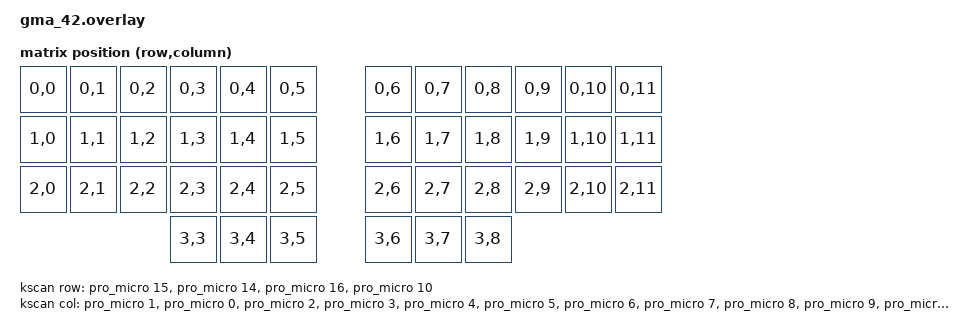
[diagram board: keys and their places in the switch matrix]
#include <physical_layouts.dtsi>
#include <dt-bindings/zmk/matrix_transform.h>

/ {
    #chosen {
    #   zmk,physical-layout = &layout;
    #};

    kscan: kscan {
        compatible = "zmk,kscan-gpio-matrix";
        diode-direction = "col2row";

        row-gpios = <&pro_micro 15 (GPIO_ACTIVE_HIGH | GPIO_PULL_DOWN)>,
                    <&pro_micro 14 (GPIO_ACTIVE_HIGH | GPIO_PULL_DOWN)>,
                    <&pro_micro 16 (GPIO_ACTIVE_HIGH | GPIO_PULL_DOWN)>,
                    <&pro_micro 10 (GPIO_ACTIVE_HIGH | GPIO_PULL_DOWN)>;

        col-gpios = <&pro_micro 1 GPIO_ACTIVE_HIGH>,
                    <&pro_micro 0 GPIO_ACTIVE_HIGH>,
                    <&pro_micro 2 GPIO_ACTIVE_HIGH>,
                    <&pro_micro 3 GPIO_ACTIVE_HIGH>,
                    <&pro_micro 4 GPIO_ACTIVE_HIGH>,
                    <&pro_micro 5 GPIO_ACTIVE_HIGH>,
                    <&pro_micro 6 GPIO_ACTIVE_HIGH>,
                    <&pro_micro 7 GPIO_ACTIVE_HIGH>,
                    <&pro_micro 8 GPIO_ACTIVE_HIGH>,
                    <&pro_micro 9 GPIO_ACTIVE_HIGH>,
                    <&pro_micro 21 GPIO_ACTIVE_HIGH>,
                    <&pro_micro 20 GPIO_ACTIVE_HIGH>;
    };

    transform: matrix_transform {
        compatible = "zmk,matrix-transform";
        rows = <4>;
        columns = <12>;

        map = <
                RC(0, 0) RC(0, 1) RC(0, 2) RC(0, 3) RC(0, 4) RC(0, 5)  RC(0, 6) RC(0, 7) RC(0, 8) RC(0, 9) RC(0, 10) RC(0, 11)
                RC(1, 0) RC(1, 1) RC(1, 2) RC(1, 3) RC(1, 4) RC(1, 5)  RC(1, 6) RC(1, 7) RC(1, 8) RC(1, 9) RC(1, 10) RC(1, 11)
                RC(2, 0) RC(2, 1) RC(2, 2) RC(2, 3) RC(2, 4) RC(2, 5)  RC(2, 6) RC(2, 7) RC(2, 8) RC(2, 9) RC(2, 10) RC(2, 11)
                                           RC(3, 3) RC(3, 4) RC(3, 5)  RC(3, 6) RC(3, 7) RC(3, 8) 
        >;
    };

    layout: layout {
        compatible = "zmk,physical-layout";
        display-name = "Ortho 4x12";
        transform = <&transform>;
        kscan = <&kscan>;

        keys  //                     w   h    x    y     rot    rx    ry
            = <&key_physical_attrs 100 100    0    0       0     0     0>
            , <&key_physical_attrs 100 100  100    0       0     0     0>
            , <&key_physical_attrs 100 100  200    0       0     0     0>
            , <&key_physical_attrs 100 100  300    0       0     0     0>
            , <&key_physical_attrs 100 100  400    0       0     0     0>
            , <&key_physical_attrs 100 100  500    0       0     0     0>
            , <&key_physical_attrs 100 100  690    0       0     0     0>
            , <&key_physical_attrs 100 100  790    0       0     0     0>
            , <&key_physical_attrs 100 100  890    0       0     0     0>
            , <&key_physical_attrs 100 100  990    0       0     0     0>
            , <&key_physical_attrs 100 100  1090   0       0     0     0>
            , <&key_physical_attrs 100 100  1190   0       0     0     0>

            , <&key_physical_attrs 100 100    0  100       0     0     0>
            , <&key_physical_attrs 100 100  100  100       0     0     0>
            , <&key_physical_attrs 100 100  200  100       0     0     0>
            , <&key_physical_attrs 100 100  300  100       0     0     0>
            , <&key_physical_attrs 100 100  400  100       0     0     0>
            , <&key_physical_attrs 100 100  500  100       0     0     0>
            , <&key_physical_attrs 100 100  690  100       0     0     0>
            , <&key_physical_attrs 100 100  790  100       0     0     0>
            , <&key_physical_attrs 100 100  890  100       0     0     0>
            , <&key_physical_attrs 100 100  990  100       0     0     0>
            , <&key_physical_attrs 100 100  1090 100       0     0     0>
            , <&key_physical_attrs 100 100  1190 100       0     0     0>

            , <&key_physical_attrs 100 100    0  200       0     0     0>
            , <&key_physical_attrs 100 100  100  200       0     0     0>
            , <&key_physical_attrs 100 100  200  200       0     0     0>
            , <&key_physical_attrs 100 100  300  200       0     0     0>
            , <&key_physical_attrs 100 100  400  200       0     0     0>
            , <&key_physical_attrs 100 100  500  200       0     0     0>
            , <&key_physical_attrs 100 100  690  200       0     0     0>
            , <&key_physical_attrs 100 100  790  200       0     0     0>
            , <&key_physical_attrs 100 100  890  200       0     0     0>
            , <&key_physical_attrs 100 100  990  200       0     0     0>
            , <&key_physical_attrs 100 100  1090 200       0     0     0>
            , <&key_physical_attrs 100 100  1190 200       0     0     0>
            
            , <&key_physical_attrs 100 100  300  300       0     0     0>
            , <&key_physical_attrs 100 100  400  300       0     0     0>
            , <&key_physical_attrs 100 100  500  300       0     0     0>
            , <&key_physical_attrs 100 100  690  300       0     0     0>
            , <&key_physical_attrs 100 100  790  300       0     0     0>
            , <&key_physical_attrs 100 100  890  300       0     0     0>
            
            ;
    };
};
